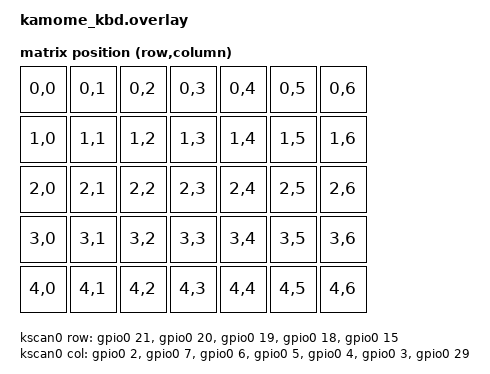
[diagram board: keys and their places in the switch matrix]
#include <dt-bindings/zmk/matrix-transform.h>

/ {
    chosen {
        zmk,kscan = &kscan0;
        zmk,matrix_transform = &default_transform;
    };

    default_transform: keymap_transform_0 {
        compatible = "zmk,matrix-transform";
        columns = <7>;
        rows = <5>;
        map =  <
            RC(0,0) RC(0,1) RC(0,2) RC(0,3) RC(0,4) RC(0,5) RC(0,6)
            RC(1,0) RC(1,1) RC(1,2) RC(1,3) RC(1,4) RC(1,5) RC(1,6)
            RC(2,0) RC(2,1) RC(2,2) RC(2,3) RC(2,4) RC(2,5) RC(2,6)
            RC(3,0) RC(3,1) RC(3,2) RC(3,3) RC(3,4) RC(3,5) RC(3,6)
            RC(4,0) RC(4,1) RC(4,2) RC(4,3) RC(4,4) RC(4,5) RC(4,6)
        >;
    };

    kscan0: kscan {
        compatible = "zmk,kscan-gpio-matrix";
        diode-direction = "col2row"; // Или "row2col" в зависимости от схемы диодов

        // Строки (rows)
        row-gpios =
            <&gpio0 21 GPIO_ACTIVE_HIGH>,  // Row 0 (P0.21)
            <&gpio0 20 GPIO_ACTIVE_HIGH>,  // Row 1 (P0.20)
            <&gpio0 19 GPIO_ACTIVE_HIGH>,  // Row 2 (P0.19)
            <&gpio0 18 GPIO_ACTIVE_HIGH>,  // Row 3 (P0.18)
            <&gpio0 15 GPIO_ACTIVE_HIGH>;  // Row 4 (P0.15)

        // Столбцы (columns)
        col-gpios =
            <&gpio0 2  GPIO_ACTIVE_HIGH>,  // Column 0 (P0.02)
            <&gpio0 7  GPIO_ACTIVE_HIGH>,  // Column 1 (P0.07)
            <&gpio0 6  GPIO_ACTIVE_HIGH>,  // Column 2 (P0.06)
            <&gpio0 5  GPIO_ACTIVE_HIGH>,  // Column 3 (P0.05)
            <&gpio0 4  GPIO_ACTIVE_HIGH>,  // Column 4 (P0.04)
            <&gpio0 3  GPIO_ACTIVE_HIGH>,  // Column 5 (P0.03)
            <&gpio0 29 GPIO_ACTIVE_HIGH>; // Column 6 (P0.29)
    };
};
